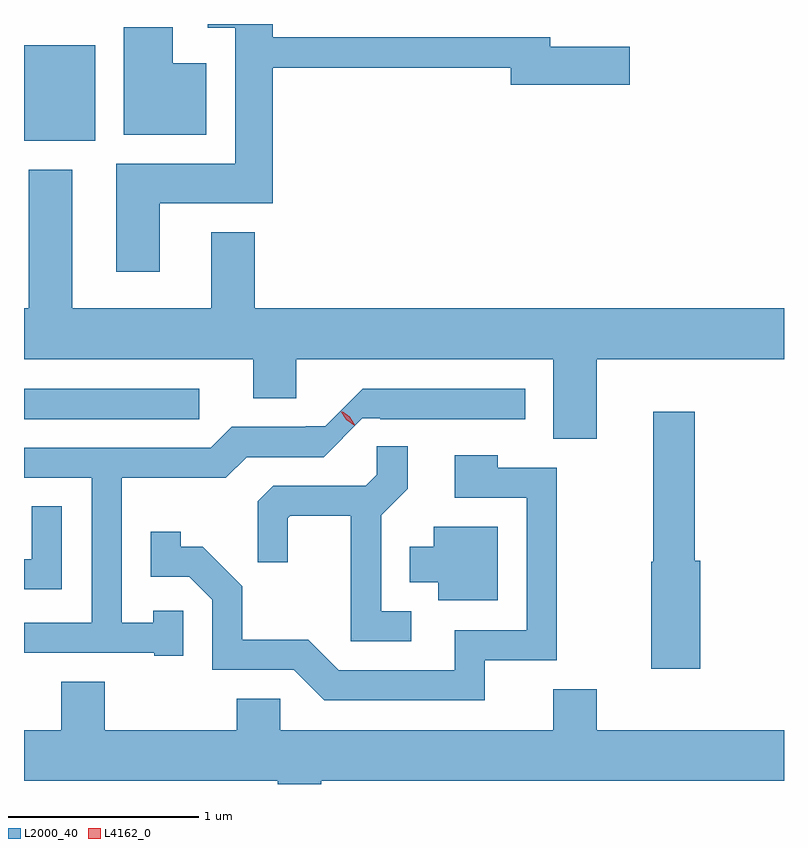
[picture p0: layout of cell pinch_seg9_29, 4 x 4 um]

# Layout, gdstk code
import gdstk
lib = gdstk.Library(unit=1e-6, precision=1e-09)
def R(c, l, rs):  # rectangles x0, y0, x1, y1
    for r in rs: c.add(gdstk.rectangle(r[:2], r[2:], *l))
def P(c, l, *ps):  # polygons
    for p in ps: c.add(gdstk.Polygon(p, *l))
L2000_40 = (2000, 40)
L4162_0 = (4162, 0)

pinch_seg9_29 = lib.new_cell('pinch_seg9_29')
R(pinch_seg9_29, L2000_40, [(638.945,2007.041,639.868,2007.199), (638.945,2008.506,639.319,2009.009)])
P(pinch_seg9_29, L2000_40, [(639.659,2008.176),(640.254,2008.176),(640.254,2008.891),(641.506,2008.891),(641.506,2008.801),(642.134,2008.801),(642.134,2008.999),(641.714,2008.999),(641.714,2009.049),(640.254,2009.049),(640.254,2009.12),(639.911,2009.12),(639.911,2009.101),(640.056,2009.101),(640.056,2008.384),(639.431,2008.384),(639.431,2007.816),(639.659,2007.816)],
  [(639.904,2008.914),(639.729,2008.914),(639.729,2009.104),(639.471,2009.104),(639.471,2008.536),(639.904,2008.536)],
  [(641.959,2007.356),(642.945,2007.356),(642.945,2007.624),(640.159,2007.624),(640.159,2008.024),(639.931,2008.024),(639.931,2007.624),(639.199,2007.624),(639.199,2008.354),(638.971,2008.354),(638.971,2007.624),(638.945,2007.624),(638.945,2007.356),(640.151,2007.356),(640.151,2007.151),(640.379,2007.151),(640.379,2007.356),(641.731,2007.356),(641.731,2006.936),(641.959,2006.936)],
  [(639.784,2006.033),(639.626,2006.033),(639.626,2005.969),(639.459,2005.969),(639.459,2006.731),(640.007,2006.731),(640.117,2006.841),(640.522,2006.841),(640.726,2007.045),(640.82,2007.045),(640.82,2007.041),(641.583,2007.041),(641.583,2007.199),(640.727,2007.199),(640.53,2007.003),(640.428,2007.003),(640.428,2006.999),(640.039,2006.999),(639.929,2006.889),(638.945,2006.889),(638.945,2006.731),(639.301,2006.731),(639.301,2005.969),(638.945,2005.969),(638.945,2005.811),(639.63,2005.811),(639.63,2005.796),(639.784,2005.796)],
  [(642.504,2006.294),(642.474,2006.294),(642.474,2007.079),(642.256,2007.079),(642.256,2006.29),(642.246,2006.29),(642.246,2005.726),(642.504,2005.726)],
  [(640.983,2006.029),(640.824,2006.029),(640.824,2006.534),(640.964,2006.674),(640.964,2006.898),(640.801,2006.898),(640.801,2006.747),(640.744,2006.689),(640.257,2006.689),(640.176,2006.609),(640.176,2006.288),(640.334,2006.288),(640.334,2006.519),(640.347,2006.531),(640.666,2006.531),(640.666,2005.871),(640.983,2005.871)],
  [(641.369,2005.771),(641.749,2005.771),(641.749,2006.784),(641.439,2006.784),(641.439,2006.849),(641.211,2006.849),(641.211,2006.626),(641.591,2006.626),(641.591,2005.929),(641.211,2005.929),(641.211,2005.719),(640.602,2005.719),(640.442,2005.879),(640.094,2005.879),(640.094,2006.162),(639.887,2006.369),(639.769,2006.369),(639.769,2006.448),(639.611,2006.448),(639.611,2006.211),(639.814,2006.211),(639.936,2006.089),(639.936,2005.721),(640.364,2005.721),(640.524,2005.561),(641.369,2005.561)],
  [(639.144,2006.583),(638.986,2006.583),(638.986,2006.304),(638.945,2006.304),(638.945,2006.146),(639.144,2006.146)],
  [(641.439,2006.474),(641.101,2006.474),(641.101,2006.369),(640.976,2006.369),(640.976,2006.181),(641.126,2006.181),(641.126,2006.086),(641.439,2006.086)],
  [(640.509,2005.136),(642.945,2005.136),(642.945,2005.404),(641.959,2005.404),(641.959,2005.619),(641.731,2005.619),(641.731,2005.404),(640.294,2005.404),(640.294,2005.569),(640.066,2005.569),(640.066,2005.404),(639.369,2005.404),(639.369,2005.659),(639.141,2005.659),(639.141,2005.404),(638.945,2005.404),(638.945,2005.136),(640.281,2005.136),(640.281,2005.12),(640.509,2005.12)])
P(pinch_seg9_29, L4162_0, [(640.684,2007.011),(640.645,2007.04),(640.619,2007.082),(640.619,2007.082),(640.62,2007.082),(640.659,2007.053),(640.685,2007.012),(640.685,2007.011)],
  [(640.685,2007.005),(640.641,2007.036),(640.611,2007.081),(640.611,2007.082),(640.611,2007.082),(640.655,2007.05),(640.686,2007.006),(640.686,2007.005)])

lib.write_gds('pinch_seg9_29.gds')
